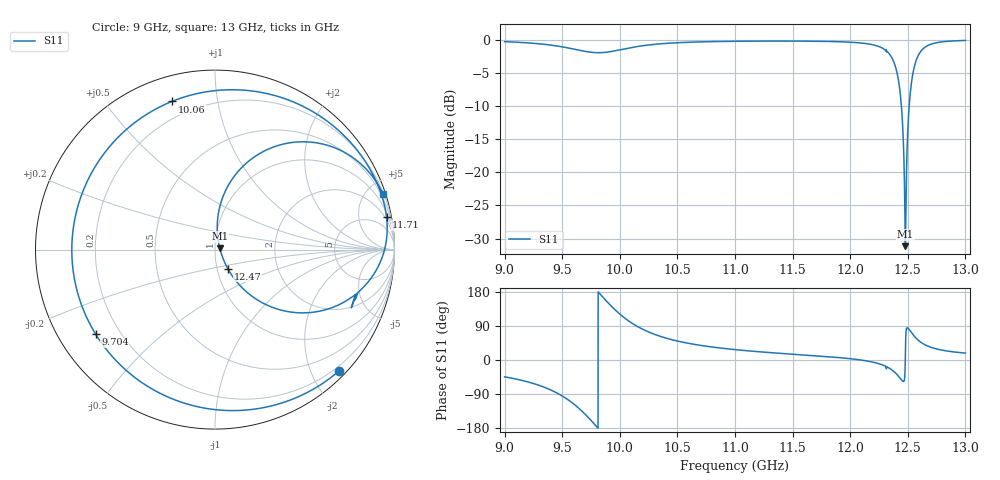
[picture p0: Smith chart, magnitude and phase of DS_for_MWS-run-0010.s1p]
! TOUCHSTONE file generated by CST DESIGN STUDIO
! Date and time: Tue Feb  4 13:41:13 2025
! Project name: C:\Work\MatlabApps\UnitCellOptimizationMatlab\CST\unitcell.cst
! Tree item: Tasks\Sweep1\SPara1\S-Parameters
! Header version: 2024
! Port assignment regex: !\s*Touchstone port\s*([0-9]+)\s*=\s*(CST MWS port|CST DES external port|CST DES block port)\s*(.+)\s* \(\"(.*)\"\)(\s*mode\s*([0-9]+))?.*
! Touchstone port assignment:
! Touchstone port 1 = CST DES external port 1 ("")
# GHz S MA R 50
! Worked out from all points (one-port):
!   4001 points, 9 GHz to 13 GHz, reference 50 ohm
!   lowest |S11| = -31.1 dB at 12.48 GHz (marker M1), VSWR 1.06, Z = 52.7 + j0.786 ohm
!   |S11| at or under -10 dB: 12.44 GHz to 12.51 GHz (67.58 MHz wide, 0.542 % of centre)
!   S11 on the Smith chart (normalised r, x): 9 GHz: 0.12, -2.44; 9.704 GHz: 0.11, -0.31; 10.06 GHz: 0.12, +0.74; 11.71 GHz: 2, +10; 12.47 GHz: 1.13, -0.24; 13 GHz: 0.26, +6.23
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9  0.9668 -44.4
9.276  0.9354 -64.5
9.5  0.8833 -94.9
9.606  0.8474 -117.5
9.704  0.8149 -144.7
9.776  0.8002 -168.0
9.842  0.7989 169.6
10  0.8383 121.2
10.062  0.8597 106.2
10.268  0.916 71.7
10.5  0.9487 50.1
11  0.9728 27.4
11.5  0.976 15.3
11.712  0.9729 10.8
12  0.9575 3.5
12.25  0.8874 -9.9
12.373  0.6977 -28.8
12.434  0.3957 -48.4
12.45  0.2706 -54.2
12.466  0.1282 -56.1
12.479  0.02775 15.6
12.49  0.1124 83.6
12.5  0.2072 84.6
12.513  0.3247 80.3
12.533  0.4818 71.9
12.598  0.781 50.3
12.733  0.9421 30.5
13  0.9868 18.2
